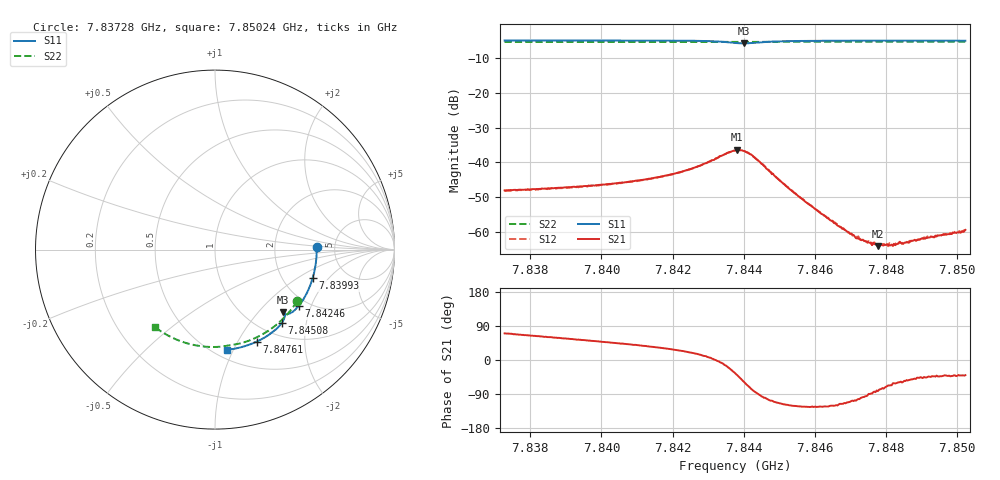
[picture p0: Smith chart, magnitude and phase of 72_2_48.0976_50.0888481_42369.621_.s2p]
#  HZ  S  RI  R  50.00
! Rohde & Schwarz Vector Network Analyzer
! Rohde-Schwarz,ZNB20-2Port,1311601062101988,3.16
! Created: UTC 12/23/2023, 3:41:51 AM
! freq[Hz]  re:S11  im:S11  re:S21  im:S21  re:S12  im:S12  re:S22  im:S22
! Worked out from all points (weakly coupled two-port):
!   401 points, 7.83728 GHz to 7.85024 GHz, reference 50 ohm
!   highest |S21| = -36.34 dB at 7.84382 GHz (marker M1); lowest = -64.0 dB at 7.84777 GHz (marker M2)
!   lowest |S11| = -5.8 dB at 7.84401 GHz (marker M3), VSWR 3.12, Z = 72.4 - j68.7 ohm
!   |S11| at or under -10 dB: nowhere
!   |S22| runs from -5.4 to -5.3 dB; largest |S21 - S12| = 0.00021
!   S11 on the Smith chart (normalised r, x): 7.83728 GHz: 3.60, +0.18; 7.83993 GHz: 2.92, -1.36; 7.84246 GHz: 1.78, -1.64; 7.84508 GHz: 1.25, -1.46; 7.84761 GHz: 0.80, -1.21; 7.85024 GHz: 0.58, -0.94
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7.837276e9  0.5661 0.0168  0.00135 0.00373  0.00136 0.00366  0.4572 -0.2869
7.839447e9  0.5527 -0.1268  0.00274 0.0036  0.00272 0.00358  0.3601 -0.4031
7.839933e9  0.5443 -0.1585  0.00314 0.00358  0.00306 0.00353  0.334 -0.4254
7.841617e9  0.4998 -0.2649  0.00519 0.00334  0.00518 0.00332  0.2341 -0.4882
7.84246e9  0.4656 -0.3153  0.00744 0.00277  0.00738 0.00278  0.1794 -0.5108
7.84327e9  0.4165 -0.3558  0.0117 -0.000565  0.0116 -0.00047  0.1242 -0.5261
7.843756e9  0.3818 -0.3567  0.0122 -0.0084  0.0123 -0.00828  0.0918 -0.5313
7.84382e9  0.3795 -0.3545  0.0116 -0.00983  0.0116 -0.00963  0.0875 -0.5318
7.844015e9  0.3789 -0.3487  0.00768 -0.0125  0.00759 -0.0124  0.0754 -0.5338
7.844177e9  0.3835 -0.3497  0.00387 -0.0126  0.00381 -0.0127  0.0651 -0.5359
7.844339e9  0.3879 -0.3565  0.000935 -0.0113  0.00101 -0.0114  0.0543 -0.5377
7.845084e9  0.3736 -0.4068  -0.00224 -0.00461  -0.00226 -0.00464  0.00241 -0.5427
7.845926e9  0.3317 -0.451  -0.00126 -0.00196  -0.00131 -0.00191  -0.0571 -0.5407
7.846704e9  0.2879 -0.4826  -0.000513 -0.00107  -0.000556 -0.00107  -0.1113 -0.5329
7.847028e9  0.2689 -0.494  -0.000301 -0.000905  -0.000294 -0.000887  -0.1334 -0.5277
7.84719e9  0.2593 -0.4992  -0.000206 -0.000785  -0.000199 -0.000824  -0.1445 -0.525
7.847611e9  0.2337 -0.5121  2.12e-05 -0.000649  5.8e-06 -0.000652  -0.1729 -0.5167
7.847773e9  0.2238 -0.5165  8.59e-05 -0.000627  0.000104 -0.000655  -0.1835 -0.5131
7.848097e9  0.2036 -0.5249  0.000249 -0.000593  0.000291 -0.000626  -0.205 -0.505
7.848518e9  0.1771 -0.5344  0.000404 -0.000574  0.000414 -0.000576  -0.2323 -0.4934
7.849134e9  0.1377 -0.5458  0.000566 -0.000595  0.00059 -0.000587  -0.2706 -0.4739
7.850235e9  0.0654 -0.5587  0.000822 -0.00069  0.000783 -0.000673  -0.335 -0.4313
